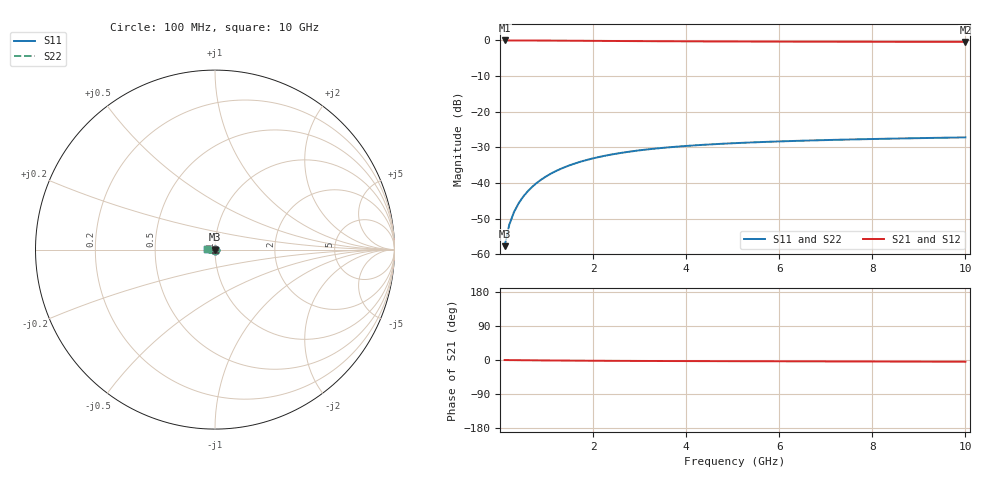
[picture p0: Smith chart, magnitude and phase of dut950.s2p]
! Touchstone file exported from HFSS 2024.1.0
!  File:  C:/UserFiles/LocalFiles/RDL_TSV_Batchsim/temp_TSV1_950_1779948973.aedt
!  Generated:  02:22:13 PM May 28, 2026
!  Design:  TSV1
!  Project:  temp_TSV1_950_1779948973
!  Setup:  Setup1
!  Solution:  Sweep
! Variables:
!  dtsv = 12.95um
!  hbump = 3um
!  htsv = 67.8um
!  lrdl = 252.1521522um
!  p = 40
!  p1 = 58um
!  t = 500um
!  trdl = 3um
!  wrdl = 24.89489489um
# GHz S MA R 50.000000
! Terminal data exported
! Port[1] = TSV22_T1
! Port[2] = TSV22_T2
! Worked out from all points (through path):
!   100 points, 100 MHz to 10 GHz, reference 50 ohm
!   highest |S21| = 0.00 dB at 100 MHz (marker M1); lowest = -0.4 dB at 10 GHz (marker M2)
!   lowest |S11| = -57.8 dB at 100 MHz (marker M3), VSWR 1.00, Z = 50 - j0.129 ohm
!   |S11| at or under -10 dB: start of sweep to end of sweep
!   |S22| runs from -57.8 to -27.2 dB; largest |S21 - S12| = 4.4e-15
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0.1  0.001293 -88.5  0.9999 -0.1  0.9999 -0.1  0.001293 -88.5
! Gamma 0 0 0 0
! Port Impedance 50 0 50 0
0.2  0.002583 -92.0  0.9997 -0.2  0.9997 -0.2  0.002583 -92.0
0.3  0.00387 -94.5  0.9995 -0.4  0.9995 -0.4  0.00387 -94.5
0.4  0.00515 -96.8  0.9992 -0.5  0.9992 -0.5  0.00515 -96.8
0.5  0.006418 -98.9  0.9988 -0.6  0.9988 -0.6  0.006418 -98.9
0.6  0.007668 -101.0  0.9983 -0.7  0.9983 -0.7  0.007668 -101.0
0.7  0.008897 -103.0  0.9977 -0.8  0.9977 -0.8  0.008897 -103.0
0.8  0.0101 -105.0  0.9971 -0.9  0.9971 -0.9  0.0101 -105.0
0.9  0.01128 -106.9  0.9964 -1.0  0.9964 -1.0  0.01128 -106.9
1.1  0.01355 -110.6  0.995 -1.2  0.995 -1.2  0.01355 -110.6
1.4  0.01671 -116.0  0.9924 -1.5  0.9924 -1.5  0.01671 -116.0
1.6  0.01864 -119.3  0.9907 -1.7  0.9907 -1.7  0.01864 -119.3
1.8  0.02044 -122.5  0.9888 -1.8  0.9888 -1.8  0.02044 -122.5
2.1  0.02289 -127.0  0.9861 -2.0  0.9861 -2.0  0.02289 -127.0
2.5  0.02572 -132.4  0.9825 -2.3  0.9825 -2.3  0.02572 -132.4
2.9  0.02812 -137.3  0.9792 -2.4  0.9792 -2.4  0.02812 -137.3
3.4  0.03061 -142.7  0.9755 -2.7  0.9755 -2.7  0.0306 -142.7
4.2  0.0337 -150.2  0.9706 -2.9  0.9706 -2.9  0.0337 -150.2
5.1  0.03627 -157.1  0.9663 -3.2  0.9663 -3.2  0.03627 -157.1
6.7  0.03946 -166.9  0.961 -3.6  0.961 -3.6  0.03946 -166.9
8.4  0.04181 -175.2  0.9574 -4.1  0.9574 -4.1  0.04181 -175.2
10  0.04355 178.3  0.9551 -4.6  0.9551 -4.6  0.04355 178.3
